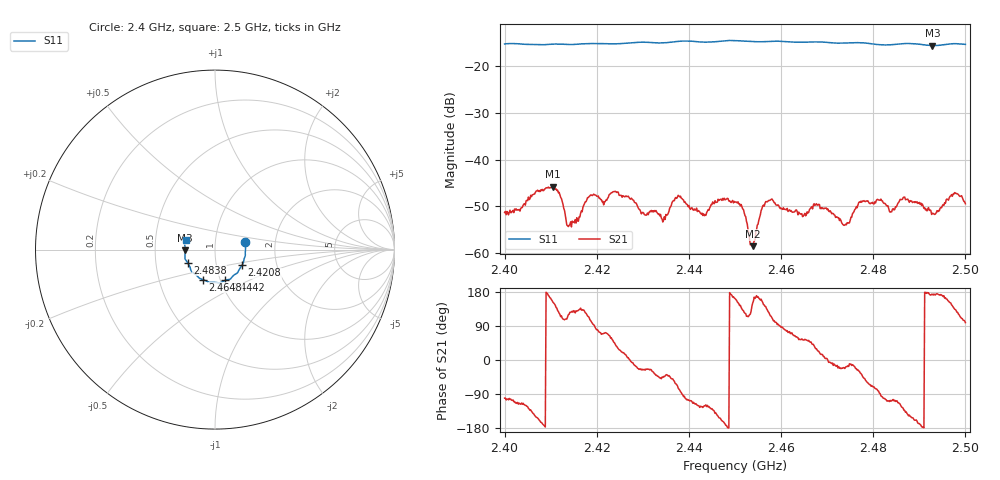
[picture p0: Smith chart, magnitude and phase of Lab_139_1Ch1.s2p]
# Hz S RI R 50
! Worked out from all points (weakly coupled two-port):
!   601 points, 2.4 GHz to 2.5 GHz, reference 50 ohm
!   highest |S21| = -45.80 dB at 2.4105 GHz (marker M1); lowest = -58.5 dB at 2.4538 GHz (marker M2)
!   lowest |S11| = -15.6 dB at 2.4928 GHz (marker M3), VSWR 1.40, Z = 35.8 - j0.357 ohm
!   |S11| at or under -10 dB: start of sweep to end of sweep
!   S12 and S22 are empty: the file has one direction only
!   S11 on the Smith chart (normalised r, x): 2.4 GHz: 1.40, +0.12; 2.4208 GHz: 1.33, -0.24; 2.4442 GHz: 1.05, -0.37; 2.4648 GHz: 0.83, -0.29; 2.4838 GHz: 0.73, -0.11; 2.5 GHz: 0.72, +0.08
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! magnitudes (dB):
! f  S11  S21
! 2.4 GHz  -15.2  -51.3
! 2.4105 GHz  -15.3  -45.8
! 2.414 GHz  -15.4  -54.1
! 2.4167 GHz  -15.2  -51.0
! 2.4208 GHz  -15.2  -48.5
! 2.4242 GHz  -15.2  -46.9
! 2.4333 GHz  -15.0  -51.7
! 2.4377 GHz  -14.7  -47.6
! 2.4442 GHz  -14.9  -50.7
! 2.45 GHz  -14.5  -49.1
! 2.4538 GHz  -14.8  -58.5
! 2.4572 GHz  -14.7  -48.9
! 2.4648 GHz  -14.9  -52.0
! 2.4667 GHz  -14.8  -50.1
! 2.4737 GHz  -15.1  -54.1
! 2.4775 GHz  -15.0  -49.1
! 2.4833 GHz  -15.5  -50.4
! 2.4838 GHz  -15.4  -51.1
! 2.487 GHz  -15.2  -48.6
! 2.4928 GHz  -15.6  -51.5
! 2.4975 GHz  -15.2  -47.4
! 2.5 GHz  -15.3  -49.4
